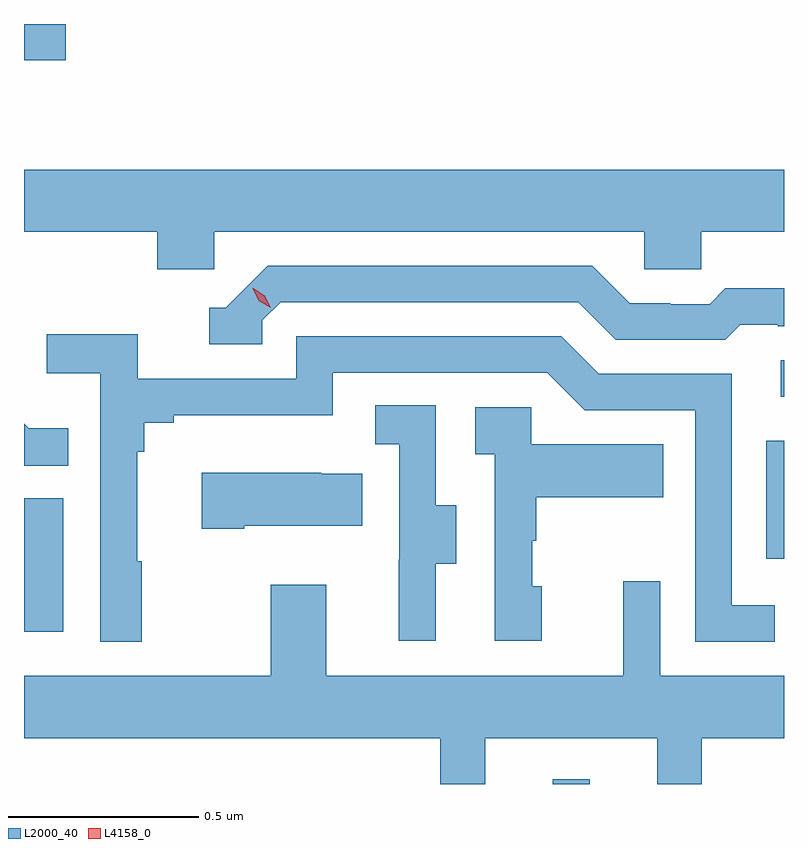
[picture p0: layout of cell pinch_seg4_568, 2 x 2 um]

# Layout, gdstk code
import gdstk
lib = gdstk.Library(unit=1e-6, precision=1e-09)
def R(c, l, rs):  # rectangles x0, y0, x1, y1
    for r in rs: c.add(gdstk.rectangle(r[:2], r[2:], *l))
def P(c, l, *ps):  # polygons
    for p in ps: c.add(gdstk.Polygon(p, *l))
L2000_40 = (2000, 40)
L4158_0 = (4158, 0)

pinch_seg4_568 = lib.new_cell('pinch_seg4_568')
R(pinch_seg4_568, L2000_40, [(1092.309,787.375,1092.406,787.387), (1090.917,787.776,1091.02,788.127), (1092.87,787.968,1092.917,788.278), (1092.909,788.394,1092.917,788.49), (1090.917,789.28,1091.027,789.375)])
P(pinch_seg4_568, L2000_40, [(1091.418,788.828),(1092.549,788.828),(1092.549,788.73),(1092.699,788.73),(1092.699,788.828),(1092.917,788.828),(1092.917,788.992),(1090.917,788.992),(1090.917,788.828),(1091.267,788.828),(1091.267,788.73),(1091.418,788.73)],
  [(1091.544,788.595),(1091.592,788.643),(1092.375,788.643),(1092.474,788.544),(1092.763,788.544),(1092.802,788.583),(1092.901,788.583),(1092.901,788.58),(1092.917,788.58),(1092.917,788.68),(1092.763,788.68),(1092.721,788.637),(1092.618,788.637),(1092.618,788.64),(1092.511,788.64),(1092.412,788.739),(1091.559,788.739),(1091.448,788.628),(1091.405,788.628),(1091.405,788.532),(1091.544,788.532)],
  [(1091.227,787.961),(1091.215,787.961),(1091.215,788.249),(1091.234,788.249),(1091.234,788.326),(1091.311,788.326),(1091.311,788.345),(1091.73,788.345),(1091.73,788.457),(1092.294,788.457),(1092.393,788.358),(1092.684,788.358),(1092.684,787.749),(1092.893,787.749),(1092.893,787.845),(1092.78,787.845),(1092.78,788.454),(1092.43,788.454),(1092.331,788.553),(1091.634,788.553),(1091.634,788.442),(1091.216,788.442),(1091.216,788.558),(1090.977,788.558),(1090.977,788.456),(1091.118,788.456),(1091.118,787.749),(1091.227,787.749)],
  [(1092.001,787.954),(1092.055,787.954),(1092.055,788.109),(1092,788.109),(1092,788.372),(1091.841,788.372),(1091.841,788.269),(1091.904,788.269),(1091.904,787.965),(1091.903,787.965),(1091.903,787.752),(1092.001,787.752)],
  [(1092.28,787.896),(1092.255,787.896),(1092.255,788.015),(1092.265,788.015),(1092.265,788.129),(1092.599,788.129),(1092.599,788.269),(1092.252,788.269),(1092.252,788.367),(1092.105,788.367),(1092.105,788.243),(1092.156,788.243),(1092.156,787.752),(1092.28,787.752)],
  [(1091.033,788.311),(1090.929,788.311),(1090.917,788.323),(1090.917,788.212),(1091.033,788.212)],
  [(1091.497,788.054),(1091.807,788.054),(1091.807,788.191),(1091.699,788.191),(1091.699,788.194),(1091.385,788.194),(1091.385,788.047),(1091.497,788.047)],
  [(1092.131,787.496),(1092.584,787.496),(1092.584,787.375),(1092.701,787.375),(1092.701,787.496),(1092.917,787.496),(1092.917,787.66),(1092.591,787.66),(1092.591,787.909),(1092.494,787.909),(1092.494,787.66),(1091.713,787.66),(1091.713,787.9),(1091.566,787.9),(1091.566,787.66),(1090.917,787.66),(1090.917,787.496),(1092.013,787.496),(1092.013,787.375),(1092.131,787.375)])
P(pinch_seg4_568, L4158_0, [(1091.566,788.628),(1091.535,788.647),(1091.519,788.679),(1091.519,788.68),(1091.52,788.68),(1091.55,788.66),(1091.566,788.628),(1091.566,788.628)])

lib.write_gds('pinch_seg4_568.gds')
